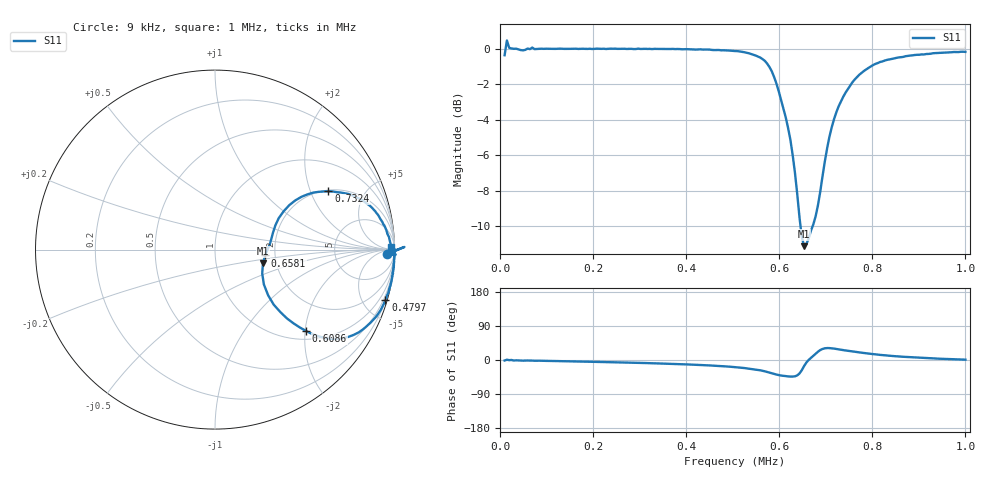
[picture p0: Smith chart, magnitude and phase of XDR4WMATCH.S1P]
!Agilent Technologies,E5071C,MY46100305,A.07.02
!Date: Fri Jan 01 00:53:33 1988
!Data & Calibration Information:
!Freq	S11:SOLT1(ON)
# Hz S MA R 50
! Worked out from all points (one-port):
!   201 points, 9 kHz to 1 MHz, reference 50 ohm
!   lowest |S11| = -11.1 dB at 653.1 kHz (marker M1), VSWR 1.77, Z = 85 - j14 ohm
!   |S11| at or under -10 dB: 645.4 kHz to 671.5 kHz (26.03 kHz wide, 3.95 % of centre)
!   S11 on the Smith chart (normalised r, x): 9 kHz: 37, -20; 479.7 kHz: 0.23, -6.89; 608.6 kHz: 1.20, -2.02; 658.1 kHz: 1.77, -0.12; 732.4 kHz: 2.06, +2.70; 1 MHz: 62, +48
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9000  0.9589 -1.3
13955  1.055 0.8
18910  1.006 -0.4
43685  0.9915 -1.3
132875  0.9998 -3.1
256750  0.9996 -6.3
380625  0.9985 -10.7
479725  0.9904 -16.5
504500  0.9854 -18.8
534230  0.9714 -22.8
563960  0.9348 -28.6
588735  0.8317 -36.8
608555  0.6802 -41.8
628375  0.5037 -43.7
643240  0.3345 -35.5
648195  0.2948 -26.8
653150  0.2778 -15.9
658105  0.2816 -6.6
677925  0.3374 16.5
687835  0.3957 26.2
702700  0.5248 31.5
717565  0.6339 30.1
732430  0.7106 27.2
752250  0.7878 23.5
772070  0.8455 20.0
806755  0.9067 14.8
876125  0.955 7.8
1000000  0.98 0.9
